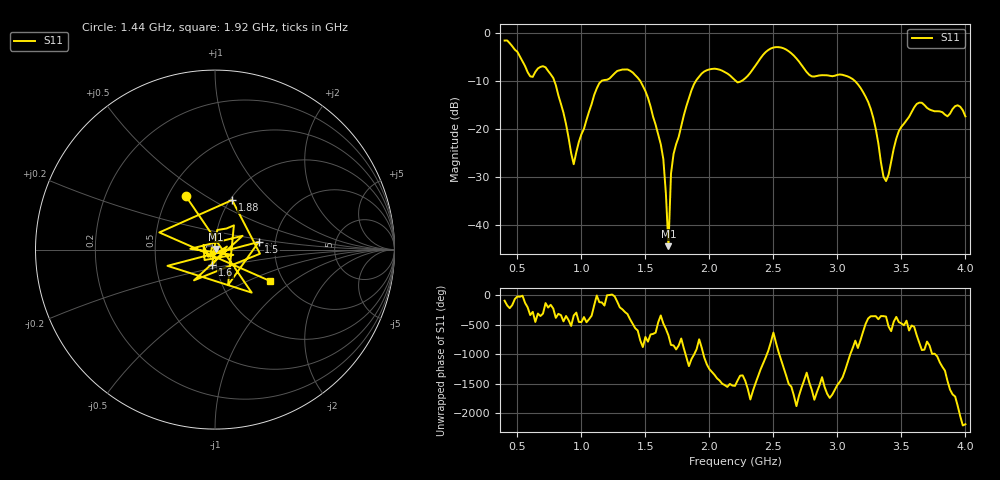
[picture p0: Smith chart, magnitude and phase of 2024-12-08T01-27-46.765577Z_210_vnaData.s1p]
!Created with skrf (http://scikit-rf.org).
# Hz S RI R 50.0
!freq ReS11 ImS11
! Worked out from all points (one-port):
!   181 points, 400 MHz to 4 GHz, reference 50 ohm
!   lowest |S11| = -44.5 dB at 1.68 GHz (marker M1), VSWR 1.01, Z = 50.5 + j0.359 ohm
!   |S11| at or under -10 dB: 788.1 MHz to 1.159 GHz (370.5 MHz wide, 38.1 % of centre); 1.459 GHz to 1.895 GHz (436.1 MHz wide, 26 % of centre); 3.135 GHz to end of sweep (the widest 3 of 4)
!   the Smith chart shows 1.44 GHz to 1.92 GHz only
!   S11 on the Smith chart (normalised r, x): 1.44 GHz: 0.61, +0.41; 1.5 GHz: 1.64, +0.15; 1.6 GHz: 0.95, -0.16; 1.88 GHz: 1.02, +0.62; 1.92 GHz: 1.71, -0.68
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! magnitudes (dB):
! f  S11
! 400 MHz  -1.6
! 600 MHz  -9.1
! 720 MHz  -7.2
! 860 MHz  -16.7
! 940 MHz  -27.4
! 1.12 GHz  -11.6
! 1.3 GHz  -7.8
! 1.44 GHz  -9.4
! 1.5 GHz  -12.1
! 1.6 GHz  -21.2
! 1.64 GHz  -26.3
! 1.68 GHz  -44.5
! 1.7 GHz  -29.4
! 1.76 GHz  -21.7
! 1.88 GHz  -10.7
! 1.92 GHz  -9.1
! 2.04 GHz  -7.5
! 2.2 GHz  -9.9
! 2.48 GHz  -3.3
! 2.66 GHz  -4.8
! 2.8 GHz  -9.1
! 3.1 GHz  -9.3
! 3.26 GHz  -15.8
! 3.38 GHz  -30.9
! 3.48 GHz  -20.5
! 3.56 GHz  -17.5
! 3.64 GHz  -14.6
! 4 GHz  -17.4
